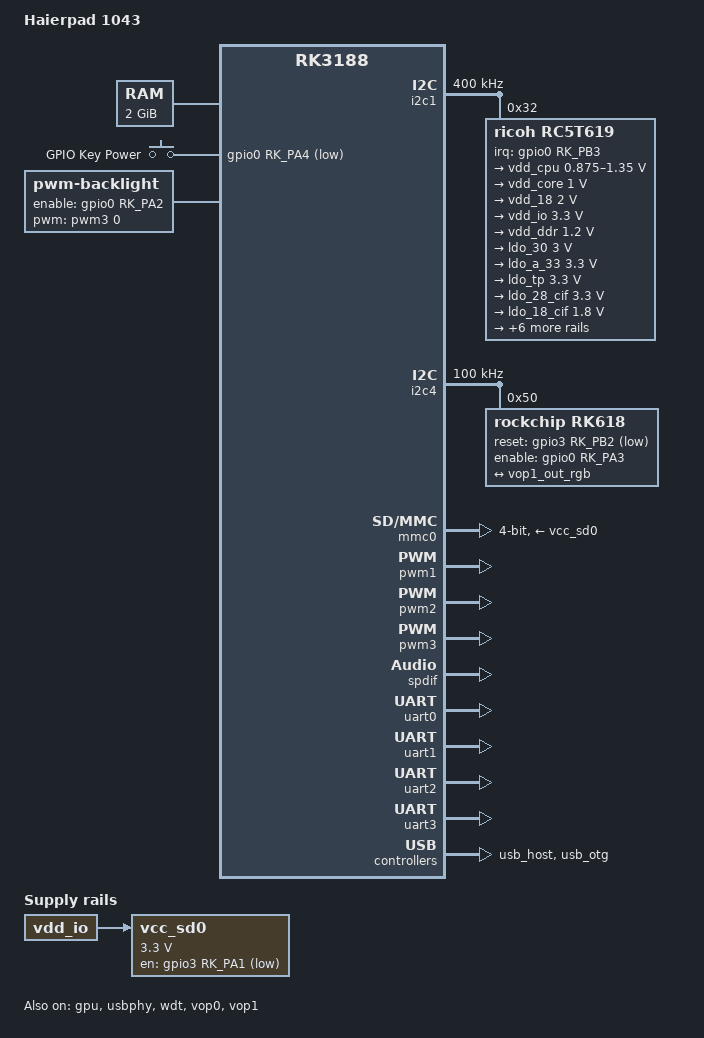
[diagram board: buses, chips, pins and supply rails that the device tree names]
// SPDX-License-Identifier: (GPL-2.0+ OR MIT)
/*
 * Copyright (c) 2013 Heiko Stuebner <heiko@sntech.de>
 */

/dts-v1/;
#include <dt-bindings/input/input.h>
#include <dt-bindings/clock/rk618-cru.h>
#include <dt-bindings/display/drm_mipi_dsi.h>
#include "rk3188.dtsi"

/ {
	model = "Haierpad 1043";
	compatible = "haierpad,1043", "rockchip,rk3188";

	aliases {
		mmc0 = &mmc0;
	};

	memory@60000000 {
		device_type = "memory";
		reg = <0x60000000 0x80000000>;
	};

	gpio-keys {
		compatible = "gpio-keys";
		autorepeat;

		key-power {
			gpios = <&gpio0 RK_PA4 GPIO_ACTIVE_LOW>;
			linux,code = <KEY_POWER>;
			label = "GPIO Key Power";
			linux,input-type = <1>;
			wakeup-source;
			debounce-interval = <100>;
		};

        // TODO: volume gpios
	};

	vcc_sd0: sdmmc-regulator {
		compatible = "regulator-fixed";
		regulator-name = "sdmmc-supply";
		regulator-min-microvolt = <3300000>;
		regulator-max-microvolt = <3300000>;
		gpio = <&gpio3 RK_PA1 GPIO_ACTIVE_LOW>;
		pinctrl-names = "default";
		pinctrl-0 = <&sdmmc_pwr>;
		startup-delay-us = <100000>;
		vin-supply = <&vdd_io>;
	};

    backlight: backlight {
        status = "okay";
        compatible = "pwm-backlight";
        pwms = <&pwm3 0 25000>;
        enable-gpios = <&gpio0 RK_PA2 GPIO_ACTIVE_HIGH>;
        default-brightness-level = <150>;
    };
};

&cpu0 {
	cpu-supply = <&vdd_cpu>;
};

&cpu1 {
	cpu-supply = <&vdd_cpu>;
};

&cpu2 {
	cpu-supply = <&vdd_cpu>;
};

&cpu3 {
	cpu-supply = <&vdd_cpu>;
};

&gpu {
	status = "okay";
};

&i2c1 {
	status = "okay";
	clock-frequency = <400000>;

    rc5t619: rc5t619@32 {
        compatible = "ricoh,rc5t619";
        reg = <0x32>;
		status = "okay";
        interrupt-parent = <&gpio0>;
        interrupts = <RK_PB3 IRQ_TYPE_EDGE_FALLING>;
        system-power-controller;

        regulators {
			vdd_cpu: DCDC1 {
				regulator-name = "VDD_CPU";
				regulator-min-microvolt = <875000>;
				regulator-max-microvolt = <1350000>;
				regulator-always-on;
			};
			vdd_core: DCDC2 {
				regulator-name = "VDD_CORE";
				regulator-min-microvolt = <1000000>;
				regulator-max-microvolt = <1000000>;
				regulator-always-on;
			};
			vdd_18: DCDC3 {
				regulator-name = "VDD_18";
				regulator-min-microvolt = <2000000>;
				regulator-max-microvolt = <2000000>;
				regulator-always-on;
			};
			vdd_io: DCDC4 {
				regulator-name = "VDD_IO";
				regulator-min-microvolt = <3300000>;
				regulator-max-microvolt = <3300000>;
				regulator-always-on;
			};
			vdd_ddr: DCDC5 {
				regulator-name = "VDD_DDR";
				regulator-min-microvolt = <1200000>;
				regulator-max-microvolt = <1200000>;
				regulator-always-on;
			};

			ldo_30: LDO1 {
				regulator-name = "LDO_30";
				regulator-min-microvolt = <3000000>;
				regulator-max-microvolt = <3000000>;
				regulator-always-on;
			};
			ldo_a_33: LDO2 {
				regulator-name = "LDO_A_33";
				regulator-min-microvolt = <3300000>;
				regulator-max-microvolt = <3300000>;
				regulator-always-on;
			};
			ldo_tp: LDO3 {
				regulator-name = "LDO_TP";
				regulator-min-microvolt = <3300000>;
				regulator-max-microvolt = <3300000>;
				regulator-always-on;
			};
			ldo_28_cif: LDO4 {
				regulator-name = "LDO_28_CIF";
				regulator-min-microvolt = <3300000>;
				regulator-max-microvolt = <3300000>;
				regulator-always-on;
			};
			ldo_18_cif: LDO5 {
				regulator-name = "LDO_18_CIF";
				regulator-min-microvolt = <1800000>;
				regulator-max-microvolt = <1800000>;
				regulator-always-on;
			};
			ldo_12: LDO6 {
				regulator-name = "LDO_12";
				regulator-min-microvolt = <1200000>;
				regulator-max-microvolt = <1200000>;
				regulator-always-on;
			};
			ldo_io_18: LDO7 {
				regulator-name = "LDO_IO_18";
				regulator-min-microvolt = <1200000>;
				regulator-max-microvolt = <1200000>;
				regulator-always-on;
			};
			ldo_a_25: LDO8 {
				regulator-name = "LDO_A_25";
				regulator-min-microvolt = <3300000>;
				regulator-max-microvolt = <3300000>;
				regulator-always-on;
			};
			ldo_10: LDO9 {
				regulator-name = "LDO_10";
				regulator-min-microvolt = <1000000>;
				regulator-max-microvolt = <1000000>;
				regulator-always-on;
			};
			ldo_a_18: LDO10 {
				regulator-name = "LDO_A_18";
				regulator-min-microvolt = <1800000>;
				regulator-max-microvolt = <1800000>;
				regulator-always-on;
			};
			ldo_rtc: LDORTC1 {
				regulator-name = "LDO_RTC";
				regulator-min-microvolt = <3000000>;
				regulator-max-microvolt = <3000000>;
				regulator-always-on;
			};
        };
    };
};

&i2c4 {
	status = "okay";
	clock-frequency = <100000>;

	rk618@50 {
		compatible = "rockchip,rk618";
		reg = <0x50>;
		pinctrl-names = "default";
		pinctrl-0 = <&i2s0_bus>, <&lcdc1_dclk>, <&lcdc1_den>, <&lcdc1_hsync>, <&lcdc1_vsync>, <&lcdc1_rgb24>;
		clocks = <&cru SCLK_I2S0>;
		clock-names = "clkin";
		assigned-clocks = <&cru SCLK_I2S0>;
		assigned-clock-rates = <12000000>;
		reset-gpios = <&gpio3 RK_PB2 GPIO_ACTIVE_LOW>;
		enable-gpios = <&gpio0 RK_PA3 GPIO_ACTIVE_HIGH>;
		status = "okay";

		clock: cru {
			compatible = "rockchip,rk618-cru";
			clocks = <&cru SCLK_I2S0>, <&cru DCLK_LCDC0>, <&cru DCLK_LCDC1>;
			clock-names = "clkin", "lcdc0_dclkp", "lcdc1_dclkp";
			assigned-clocks = <&clock SCALER_PLLIN_CLK>,
					  <&clock VIF_PLLIN_CLK>,
					  <&clock SCALER_CLK>,
					  <&clock VIF0_PRE_CLK>,
					  <&clock CODEC_CLK>,
					  <&clock DITHER_CLK>;
			assigned-clock-parents = <&cru SCLK_I2S0>,
						 <&clock LCDC0_CLK>,
						 <&clock SCALER_PLL_CLK>,
						 <&clock VIF_PLL_CLK>,
						 <&cru SCLK_I2S0>,
						 <&clock VIF0_CLK>;
			#clock-cells = <1>;
			status = "okay";
		};

   //      hdmi {
   //          compatible = "rockchip,rk618-hdmi";
   //          clocks = <&clock HDMI_CLK>;
   //          clock-names = "hdmi";
   //          assigned-clocks = <&clock HDMI_CLK>;
   //          assigned-clock-parents = <&clock VIF0_CLK>;
   //          interrupt-parent = <&gpio2>;
   //          interrupts = <RK_PD6 IRQ_TYPE_LEVEL_HIGH>;
   //          status = "okay";
   //
   //          ports {
   //              #address-cells = <1>;
   //              #size-cells = <0>;
   //
   //              port@0 {
   //                  reg = <0>;
   //
   //                  rgb_in_vop0: endpoint {
   //                      remote-endpoint = <&vop0_out_rgb>;
   //                  };
   //              };
   //          };
   //      };

		dsi {
			compatible = "rockchip,rk618-dsi";
			clocks = <&clock MIPI_CLK>;
			clock-names = "dsi";
			#address-cells = <1>;
			#size-cells = <0>;
			status = "okay";

            rockchip,lane-rate = <1000>;

			ports {
				#address-cells = <1>;
				#size-cells = <0>;

				port@0 {
					reg = <0>;

                    rgb_in_vop1: endpoint {
                        remote-endpoint = <&vop1_out_rgb>;
                    };
				};
			};

			panel@0 {
				reg = <0>;
                compatible = "haier,pad1043-panel";
                enable-gpios = <&gpio0 RK_PB0 GPIO_ACTIVE_LOW>;
                backlight = <&backlight>;
            };
		};
	};
};

&mmc0 {
	status = "okay";
	pinctrl-names = "default";
	pinctrl-0 = <&sd0_clk>, <&sd0_cmd>, <&sd0_cd>, <&sd0_bus4>;
	vmmc-supply = <&vcc_sd0>;

	bus-width = <4>;
	cap-mmc-highspeed;
	cap-sd-highspeed;
	disable-wp;
};

&pwm1 {
	status = "okay";
};

&pwm2 {
	status = "okay";
};

&pwm3 {
	status = "okay";
};

&pinctrl {
	pcfg_output_low: pcfg-output-low {
		output-low;
	};

	sd0 {
		sdmmc_pwr: sdmmc-pwr {
			rockchip,pins = <3 RK_PA1 RK_FUNC_GPIO &pcfg_pull_none>;
		};
	};

	usb {
		host_vbus_drv: host-vbus-drv {
			rockchip,pins = <0 RK_PA3 RK_FUNC_GPIO &pcfg_pull_none>;
		};
		otg_vbus_drv: otg-vbus-drv {
			rockchip,pins = <2 RK_PD7 RK_FUNC_GPIO &pcfg_pull_none>;
		};
	};
};

&spdif {
	status = "okay";
};

&uart0 {
	status = "okay";
};

&uart1 {
	status = "okay";
};

&uart2 {
	status = "okay";
};

&uart3 {
	status = "okay";
};

&usbphy {
	status = "okay";
};

&usb_host {
	status = "okay";
};

&usb_otg {
	status = "okay";
};

&wdt {
	status = "okay";
};

&vop0 {
	status = "okay";
};

// &vop0_out {
// 	vop0_out_rgb: endpoint {
// 		remote-endpoint = <&rgb_in_vop0>;
// 	};
// };

&vop1 {
	status = "okay";
};

&vop1_out {
	vop1_out_rgb: endpoint {
		remote-endpoint = <&rgb_in_vop1>;
	};
};

